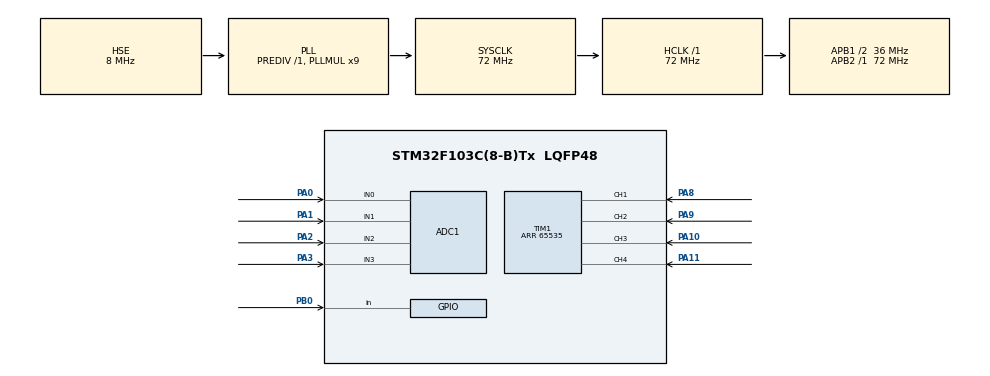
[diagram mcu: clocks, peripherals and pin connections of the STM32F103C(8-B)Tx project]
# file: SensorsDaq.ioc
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ADC1.Channel-0\#ChannelRegularConversion=ADC_CHANNEL_0
ADC1.Channel-1\#ChannelRegularConversion=ADC_CHANNEL_1
ADC1.Channel-2\#ChannelRegularConversion=ADC_CHANNEL_2
ADC1.Channel-3\#ChannelRegularConversion=ADC_CHANNEL_3
ADC1.ContinuousConvMode=DISABLE
ADC1.DataAlign=ADC_DATAALIGN_RIGHT
ADC1.DiscontinuousConvMode=DISABLE
ADC1.EnableAnalogWatchDog=false
ADC1.EnableRegularConversion=ENABLE
ADC1.ExternalTrigConv=ADC_EXTERNALTRIGCONV_T3_TRGO
ADC1.InjNumberOfConversion=0
ADC1.NbrOfConversion=4
ADC1.NbrOfConversionFlag=1
ADC1.Rank-0\#ChannelRegularConversion=1
ADC1.Rank-1\#ChannelRegularConversion=2
ADC1.Rank-2\#ChannelRegularConversion=3
ADC1.Rank-3\#ChannelRegularConversion=4
ADC1.SamplingTime-0\#ChannelRegularConversion=ADC_SAMPLETIME_1CYCLE_5
ADC1.SamplingTime-1\#ChannelRegularConversion=ADC_SAMPLETIME_1CYCLE_5
ADC1.SamplingTime-2\#ChannelRegularConversion=ADC_SAMPLETIME_1CYCLE_5
ADC1.SamplingTime-3\#ChannelRegularConversion=ADC_SAMPLETIME_1CYCLE_5
ADC1.ScanConvMode=ADC_SCAN_ENABLE
ADC1.master=1
Dma.ADC1.0.Direction=DMA_PERIPH_TO_MEMORY
Dma.ADC1.0.Instance=DMA1_Channel1
Dma.ADC1.0.MemDataAlignment=DMA_MDATAALIGN_HALFWORD
Dma.ADC1.0.MemInc=DMA_MINC_ENABLE
Dma.ADC1.0.Mode=DMA_CIRCULAR
Dma.ADC1.0.PeriphDataAlignment=DMA_PDATAALIGN_HALFWORD
Dma.ADC1.0.PeriphInc=DMA_PINC_DISABLE
Dma.ADC1.0.Priority=DMA_PRIORITY_MEDIUM
Dma.Request0=ADC1
Mcu.Family=STM32F1
Mcu.Name=STM32F103C(8-B)Tx
Mcu.Package=LQFP48
NVIC.DMA1_Channel1_IRQn=true\:0\:0\:false\:false\:true\:false
NVIC.PriorityGroup=NVIC_PRIORITYGROUP_4
NVIC.TIM1_BRK_IRQn=true\:0\:0\:false\:false\:true\:true
NVIC.TIM1_CC_IRQn=true\:0\:0\:false\:false\:true\:true
NVIC.TIM1_TRG_COM_IRQn=true\:0\:0\:false\:false\:true\:true
NVIC.TIM1_UP_IRQn=true\:0\:0\:false\:false\:true\:true
NVIC.TIM3_IRQn=true\:0\:0\:false\:false\:true\:true
PA0-WKUP.Signal=ADCx_IN0
PA1.Signal=ADCx_IN1
PA10.Signal=S_TIM1_CH3
PA11.Signal=S_TIM1_CH4
PA13.Mode=Serial_Wire
PA13.Signal=SYS_JTMS-SWDIO
PA14.Mode=Serial_Wire
PA14.Signal=SYS_JTCK-SWCLK
PA2.Signal=ADCx_IN2
PA3.Signal=ADCx_IN3
PA8.Signal=S_TIM1_CH1
PA9.Signal=S_TIM1_CH2
PB0.Signal=GPIO_Input
PD0-OSC_IN.Mode=HSE-External-Oscillator
PD0-OSC_IN.Signal=RCC_OSC_IN
PD1-OSC_OUT.Mode=HSE-External-Oscillator
PD1-OSC_OUT.Signal=RCC_OSC_OUT
ProjectManager.HeapSize=0x200
ProjectManager.StackSize=0x400
ProjectManager.TargetToolchain=TrueSTUDIO
RCC.ADCPresc=RCC_ADCPCLK2_DIV6
RCC.AHBFreq_Value=72000000
RCC.APB1CLKDivider=RCC_HCLK_DIV2
RCC.APB1Freq_Value=36000000
RCC.APB1TimFreq_Value=72000000
RCC.APB2Freq_Value=72000000
RCC.APB2TimFreq_Value=72000000
RCC.HCLKFreq_Value=72000000
RCC.PLLMUL=RCC_PLL_MUL9
RCC.PLLSourceVirtual=RCC_PLLSOURCE_HSE
RCC.SYSCLKFreq_VALUE=72000000
RCC.SYSCLKSource=RCC_SYSCLKSOURCE_PLLCLK
RCC.USBFreq_Value=72000000
SH.ADCx_IN0.0=ADC1_IN0,IN0
SH.ADCx_IN1.0=ADC1_IN1,IN1
SH.ADCx_IN2.0=ADC1_IN2,IN2
SH.ADCx_IN3.0=ADC1_IN3,IN3
SH.S_TIM1_CH1.0=TIM1_CH1,Input_Capture1_from_TI1
SH.S_TIM1_CH2.0=TIM1_CH2,Input_Capture2_from_TI2
SH.S_TIM1_CH3.0=TIM1_CH3,Input_Capture3_from_TI3
SH.S_TIM1_CH4.0=TIM1_CH4,Input_Capture4_from_TI4
TIM1.Channel-Input_Capture1_from_TI1=TIM_CHANNEL_1
TIM1.Channel-Input_Capture2_from_TI2=TIM_CHANNEL_2
TIM1.Channel-Input_Capture3_from_TI3=TIM_CHANNEL_3
TIM1.Channel-Input_Capture4_from_TI4=TIM_CHANNEL_4
TIM1.ICFilter_CH1=15
TIM1.ICFilter_CH2=15
TIM1.ICFilter_CH3=15
TIM1.ICFilter_CH4=15
TIM1.Period=65535
TIM3.Period=1000
TIM3.Prescaler=71
TIM3.TIM_MasterOutputTrigger=TIM_TRGO_UPDATE
VP_TIM1_VS_ClockSourceINT.Mode=Internal
VP_TIM3_VS_ClockSourceINT.Mode=Internal
board=custom

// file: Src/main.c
/**
  ******************************************************************************
  * @file           : main.c
  * @brief          : Main program body
  ******************************************************************************
  ** This notice applies to any and all portions of this file
  * that are not between comment pairs USER CODE BEGIN and
  * USER CODE END. Other portions of this file, whether
  * inserted by the user or by software development tools
  * are owned by their respective copyright owners.
  *
  * COPYRIGHT(c) 2018 STMicroelectronics
  *
  * Redistribution and use in source and binary forms, with or without modification,
  * are permitted provided that the following conditions are met:
  *   1. Redistributions of source code must retain the above copyright notice,
  *      this list of conditions and the following disclaimer.
  *   2. Redistributions in binary form must reproduce the above copyright notice,
  *      this list of conditions and the following disclaimer in the documentation
  *      and/or other materials provided with the distribution.
  *   3. Neither the name of STMicroelectronics nor the names of its contributors
  *      may be used to endorse or promote products derived from this software
  *      without specific prior written permission.
  *
  * THIS SOFTWARE IS PROVIDED BY THE COPYRIGHT HOLDERS AND CONTRIBUTORS "AS IS"
  * AND ANY EXPRESS OR IMPLIED WARRANTIES, INCLUDING, BUT NOT LIMITED TO, THE
  * IMPLIED WARRANTIES OF MERCHANTABILITY AND FITNESS FOR A PARTICULAR PURPOSE ARE
  * DISCLAIMED. IN NO EVENT SHALL THE COPYRIGHT HOLDER OR CONTRIBUTORS BE LIABLE
  * FOR ANY DIRECT, INDIRECT, INCIDENTAL, SPECIAL, EXEMPLARY, OR CONSEQUENTIAL
  * DAMAGES (INCLUDING, BUT NOT LIMITED TO, PROCUREMENT OF SUBSTITUTE GOODS OR
  * SERVICES; LOSS OF USE, DATA, OR PROFITS; OR BUSINESS INTERRUPTION) HOWEVER
  * CAUSED AND ON ANY THEORY OF LIABILITY, WHETHER IN CONTRACT, STRICT LIABILITY,
  * OR TORT (INCLUDING NEGLIGENCE OR OTHERWISE) ARISING IN ANY WAY OUT OF THE USE
  * OF THIS SOFTWARE, EVEN IF ADVISED OF THE POSSIBILITY OF SUCH DAMAGE.
  *
  ******************************************************************************
  */
#include "main.h"
#include "stm32f1xx_hal.h"
#include "adc.h"
#include "dma.h"
#include "tim.h"
#include "gpio.h"

#define __HAL_TIM_GetCompare            __HAL_TIM_GET_COMPARE
#define __HAL_TIM_GET_COMPARE(__HANDLE__, __CHANNEL__) \
  (*(__IO uint32_t *)(&((__HANDLE__)->Instance->CCR1) + ((__CHANNEL__) >> 2U)))

/* USER CODE BEGIN Includes */

/* ---------- Defines of Wheel Speed Sensor ---------*/
#define pi 3.1415
#define radiusOfWheel .1
#define clkFreq 16000000
#define maximumValueOfTimer 65536

/* ---------- Defines of Steering Sensor ---------*/

#define  max_no_of_bits 10 //resolution of sensor
#include <math.h>
/* USER CODE END Includes */

/* USER CODE BEGIN PV */
/* Private variables ---------------------------------------------------------*/

/* -----------Wheel Speed Sensor Variables------------- */

uint16_t frontRightFlag =0 ;			  // flags to make sure channel enterrupt has been happened
uint16_t frontLeftFlag =0 ;
uint16_t rearRightFlag =0 ;
uint16_t rearLeftFlag =0 ;

uint16_t frontRightInputCapture =0 ;  // variable to store counter of timer 1 value
uint16_t frontLeftInputCapture =0 ;	 // variable to store counter of timer 2 value
uint16_t rearRightInputCapture =0 ;	 // variable to store counter of timer 3 value
uint16_t rearLeftInputCapture =0 ;	 // variable to store counter of timer 4 value

float frontRightWheelSpeed =0 ;		// speed of front Right Wheel
float frontLeftWheelSpeed =0 ;  // speed of front left Wheel
float rearRightWheelSpeed =0 ;		// speed of rear Right Wheel
float rearLeftWheelSpeed =0 ;		// speed of rear left Wheel

uint16_t carAvarageSpeed =0 ;   		// avarage speed of the car

uint16_t updateCounter = 0 ;    // variable to know how many times the timer make an update between two pulses

/*------------ Steering Sensor Variables ------------- */

float g_angle=0;//stores position(angle) of shaft
uint32_t g_flag=0;//to know that we have our bits that represent el reading completed shifted
uint32_t g_complete_reading=0;//which will be sent to graytoDecimal function(contains complete gray code after shifting 10 bits)
uint32_t g_mul=1;//to construct gray_code from bits shifted to micro_controller

/*------------ Suspension Sensor Variables ------------- */
uint16_t adc_data[4];
float displacement[4];

/* USER CODE END PV */

void SystemClock_Config(void);

uint32_t graytoDecimal(uint32_t graycode,uint32_t size_);
void shift_bit(uint16_t reading_bit);

/* USER CODE BEGIN PFP */
/* Private function prototypes -----------------------------------------------*/

/* USER CODE END PFP */

/* USER CODE BEGIN 0 */

/* --------- functions of wheel speed sensor --------*/
void HAL_TIM_IC_CaptureCallback(TIM_HandleTypeDef *htim)
{
 if (htim->Instance==TIM1)
  {
		if((htim->Instance->CCMR1 & TIM_CCMR1_CC1S) != 0x00U){	 // check if channel 1 has been interrupted
			frontRightFlag =1 ;
		}
    if((htim->Instance->CCMR1 & TIM_CCMR1_CC2S) != 0x00U){		// check if channel 2 has been interrupted
			frontLeftFlag = 1 ;
		}
		if((htim->Instance->CCMR2 & TIM_CCMR2_CC3S) != 0x00U){	  // check if channel 3 has been interrupted
		rearRightFlag =1 ;
	}
    if((htim->Instance->CCMR2 & TIM_CCMR2_CC4S) != 0x00U){		// check if channel 4 has been interrupted
			rearLeftFlag =1 ;
		}

	}
}

void HAL_TIM_PeriodElapsedCallback(TIM_HandleTypeDef *htim) // check the update of timer
	{
		if (htim->Instance==TIM1){     // update of timer 1 for Wheel speed sensor
		updateCounter ++ ;
	}
		if (htim->Instance==TIM3)  {	 // update of timer 3 for suspension sensor

					displacement[0]=((float)adc_data[0]/4096)*50;
					displacement[1]=((float)adc_data[1]/4096)*50;
					displacement[2]=((float)adc_data[2]/4096)*50;
					displacement[3]=((float)adc_data[3]/4096)*50;
		        }
}

/* --------- functions of steering sensor --------*/

uint32_t graytoDecimal(uint32_t graycode,uint32_t size_)
{
{
	uint32_t gray[size_];
	uint32_t binary[size_];
for(uint32_t i=0;i<size_;i++)
{
	gray[size_-1-i]=graycode%10 ;
	graycode/=10;
	if(graycode==0) break;//no need to complete the loop

}

    // MSB of binary code is same as gray code
    binary[0] = gray[0];

    // Compute remaining bits
    for (uint32_t i = 1; i <size_; i++) {
        // If current bit is 0, concatenate
        // previous bit
        if (gray[i] == 0){
            binary[i]= binary[i - 1];
        }
        // Else, concatenate invert of
        // previous bit
        else
        {
            if(binary[i-1]==0)
            binary[i] = 1;
            else
            binary[i]=0;
        }

    }

    uint32_t mul=1;
    uint32_t our_Decimal=0;
    for(uint32_t i=size_-1;i>=0;i--)
    {
        our_Decimal+=mul*binary[i];//converting to decimal
        mul*=2;
    }
    return our_Decimal;
}
}
void shift_bit(uint16_t reading_bit)
{

    g_complete_reading+=reading_bit*g_mul;
    g_flag++;
    g_mul*=10;
    if(g_flag==max_no_of_bits)
    {
        //cout<<endl<<g_complete_reading; this is used for testing on codeBlocks
        g_angle=graytoDecimal(g_complete_reading,max_no_of_bits)/pow(2,max_no_of_bits);
        g_complete_reading=0;
        g_flag=0;
        g_mul=1;
        g_angle*=360;
        //cout<<endl<<g_angle;also for testing
    }
}

/* USER CODE END 0 */

int main(void)
{
  /* USER CODE BEGIN 1 */
	/* ------------ variables of wheel speed sensor ----------*/
	uint32_t frontRightDuration =0 ;		// duration of 1/4 of front Right Wheel
	uint32_t frontLeftDuration =0 ;			// duration of 1/4 of front left Wheel
	uint32_t rearRightDuration =0 ;			// duration of 1/4 of rear Right Wheel
	uint32_t rearleftDuration =0 ;			// duration of 1/4 of rear left Wheel

	uint8_t frontRightWheelCheck =0; 		// variable to check if the steps of calculation of the front right wheel duration have been done or not
	uint8_t frontLeftWheelCheck =0; 		// variable to check if the steps of calculation of the front left Wheel duration have been done or not
	uint8_t rearRightWheelCheck =0; 		// variable to check if the steps of calculation of the rear Right Wheel duration have been done or not
	uint8_t rearLeftWheelCheck =0; 			// variable to check if the steps of calculation of the rear left Wheel duration have been done or not

	/* ------------ variables of steering sensor ----------*/
	uint16_t  reading_bit=0;//for reading bit that comes from shift register

  /* USER CODE END 1 */

  /* MCU Configuration----------------------------------------------------------*/

  /* Reset of all peripherals, Initializes the Flash interface and the Systick. */
  HAL_Init();

  /* USER CODE BEGIN Init */
  HAL_TIM_IC_Start_IT(&htim1, TIM_CHANNEL_1);
  HAL_TIM_IC_Start_IT(&htim1, TIM_CHANNEL_2);
  HAL_TIM_IC_Start_IT(&htim1, TIM_CHANNEL_3);
  HAL_TIM_IC_Start_IT(&htim1, TIM_CHANNEL_4);

  /* USER CODE END Init */

  /* Configure the system clock */
  SystemClock_Config();

  /* Initialize all configured peripherals */
  MX_GPIO_Init();
  MX_DMA_Init();
  MX_ADC1_Init();
  MX_TIM3_Init();
  MX_TIM1_Init();
  /* USER CODE BEGIN 2 */
  /* ---------- init of suspension sensor -----------*/
  HAL_TIM_Base_Start_IT(&htim3);
  HAL_ADC_Start_DMA(&hadc1, (uint32_t*)adc_data,4);

  /* USER CODE END 2 */

  /* Infinite loop */
  while (1)
  {

  /* USER CODE BEGIN 3 */
	 /* ----------- code of wheel speed sensor-----------*/
	  if (updateCounter <100 )
	  	{
	  	if (frontRightFlag == 1){
	  		frontRightInputCapture= (((updateCounter * maximumValueOfTimer) + __HAL_TIM_GetCompare(&htim1, TIM_CHANNEL_1))- frontRightInputCapture);    //read TIM1 channel 1 capture value
	  		frontRightDuration = ( frontRightInputCapture / clkFreq ) ;    // duration in seconds
	  		frontRightWheelSpeed = ((((60 /(4*frontRightDuration)) *(2*pi/60)) * radiusOfWheel )* (18/5)) ; // 60 to convert to min,*4 to make it for one revolution ,2pi/60 to convert to rad/sec, *raduis to convert to m/sec, *(18/5) to convert to km/h
	  		frontRightFlag =0 ;
	  		frontRightWheelCheck =1 ;  // change 	front Right Wheel Check value to 1 to make sure the calculations have been done
	  	}
	  	if (frontLeftFlag == 1){
	  		frontLeftInputCapture= (((updateCounter * maximumValueOfTimer) + __HAL_TIM_GetCompare(&htim1, TIM_CHANNEL_2))- frontLeftInputCapture);    //read TIM1 channel 2 capture value
	  		frontLeftDuration = (frontLeftInputCapture / clkFreq) ;    // duration in seconds
	  		frontLeftWheelSpeed = ((((60 /(4*frontLeftDuration)) *(2*pi/60)) * radiusOfWheel )*(18/5)) ; // 60 to convert to min,*4 to make it for one revolution, 2pi/60 to convert to rad/sec, *raduis to convert to m/sec, *(18/5) to convert to km/h
	  		frontLeftFlag =0 ;
	  		frontLeftWheelCheck = 1 ;  // change 	front Left Wheel Check value to 1 to make sure the calculations have been done
	  	}
	  	if (rearRightFlag == 1){
	  		rearRightInputCapture= (((updateCounter * maximumValueOfTimer) + __HAL_TIM_GetCompare(&htim1, TIM_CHANNEL_3))- rearRightInputCapture);    //read TIM1 channel 3 capture value
	  		rearRightDuration = (rearRightInputCapture / clkFreq);    // duration in seconds
	  		rearRightWheelSpeed = ((((60 /(4*rearRightDuration)) *(2*pi/60)) * radiusOfWheel )*(18/5)) ;// 60 to convert to min,*4 to make it for one revolution, 2pi/60 to convert to rad/sec, *raduis to convert to m/sec ,*(18/5) to convert to km/h
	  		rearRightFlag =0 ;
	  		rearRightWheelCheck =1;  // change 	rear Right Wheel Check value to 1 to make sure the calculations have been done
	  	}
	  	if (rearLeftFlag== 1){
	  		rearLeftInputCapture= (((updateCounter * maximumValueOfTimer) +__HAL_TIM_GetCompare(&htim1, TIM_CHANNEL_4))- rearLeftInputCapture);    //read TIM1 channel 4 capture value
	  		rearleftDuration = (rearLeftInputCapture / clkFreq) ; 		  // duration in seconds
	  		rearLeftWheelSpeed = ((((60 /(4*rearleftDuration)) *(2*pi/60)) * radiusOfWheel )*(18/5)) ;// 60 to convert to min,*4 to make it for one revolution, 2pi/60 to convert to rad/sec, *raduis to convert to m/sec ,*(18/5) to convert to km/h
	  		rearLeftFlag = 0;
	  		rearLeftWheelCheck = 1 ;  // change rear Left Wheel Check value to 1 to make sure the calculations have been done
	  	}
	  	if ((frontRightWheelCheck & frontLeftWheelCheck & rearRightWheelCheck & rearLeftWheelCheck)== 1){
	  	carAvarageSpeed = ((frontRightWheelSpeed + frontLeftWheelSpeed + rearRightWheelSpeed + rearLeftWheelSpeed )/4) ; // avarage speed of the car
	    frontRightWheelCheck = 0 ;   // return the value of check to 0 to be aware of changing the value when the calculations happen
	  	frontLeftWheelCheck = 0 ;		 // return the value of check to 0 to be aware of changing the value when the calculations happen
	  	rearRightWheelCheck = 0 ;		 // return the value of check to 0 to be aware of changing the value when the calculations happen
	  	rearLeftWheelCheck = 0 ;		 // return the value of check to 0 to be aware of changing the value when the calculations happen
	  	}

	  	}

	 /* ----------- code of steering sensor-----------*/
	  reading_bit=HAL_GPIO_ReadPin(GPIOB,GPIO_PIN_0);
	  shift_bit(reading_bit);

  }
  /* USER CODE END 3 */

}

void SystemClock_Config(void)
{

  RCC_OscInitTypeDef RCC_OscInitStruct;
  RCC_ClkInitTypeDef RCC_ClkInitStruct;
  RCC_PeriphCLKInitTypeDef PeriphClkInit;

    /**Initializes the CPU, AHB and APB busses clocks
    */
  RCC_OscInitStruct.OscillatorType = RCC_OSCILLATORTYPE_HSE;
  RCC_OscInitStruct.HSEState = RCC_HSE_ON;
  RCC_OscInitStruct.HSEPredivValue = RCC_HSE_PREDIV_DIV1;
  RCC_OscInitStruct.HSIState = RCC_HSI_ON;
  RCC_OscInitStruct.PLL.PLLState = RCC_PLL_ON;
  RCC_OscInitStruct.PLL.PLLSource = RCC_PLLSOURCE_HSE;
  RCC_OscInitStruct.PLL.PLLMUL = RCC_PLL_MUL9;
  if (HAL_RCC_OscConfig(&RCC_OscInitStruct) != HAL_OK)
  {
    _Error_Handler(__FILE__, __LINE__);
  }

    /**Initializes the CPU, AHB and APB busses clocks
    */
  RCC_ClkInitStruct.ClockType = RCC_CLOCKTYPE_HCLK|RCC_CLOCKTYPE_SYSCLK
                              |RCC_CLOCKTYPE_PCLK1|RCC_CLOCKTYPE_PCLK2;
  RCC_ClkInitStruct.SYSCLKSource = RCC_SYSCLKSOURCE_PLLCLK;
  RCC_ClkInitStruct.AHBCLKDivider = RCC_SYSCLK_DIV1;
  RCC_ClkInitStruct.APB1CLKDivider = RCC_HCLK_DIV2;
  RCC_ClkInitStruct.APB2CLKDivider = RCC_HCLK_DIV1;

  if (HAL_RCC_ClockConfig(&RCC_ClkInitStruct, FLASH_LATENCY_2) != HAL_OK)
  {
    _Error_Handler(__FILE__, __LINE__);
  }

  PeriphClkInit.PeriphClockSelection = RCC_PERIPHCLK_ADC;
  PeriphClkInit.AdcClockSelection = RCC_ADCPCLK2_DIV6;
  if (HAL_RCCEx_PeriphCLKConfig(&PeriphClkInit) != HAL_OK)
  {
    _Error_Handler(__FILE__, __LINE__);
  }

    /**Configure the Systick interrupt time
    */
  HAL_SYSTICK_Config(HAL_RCC_GetHCLKFreq()/1000);

    /**Configure the Systick
    */
  HAL_SYSTICK_CLKSourceConfig(SYSTICK_CLKSOURCE_HCLK);

  /* SysTick_IRQn interrupt configuration */
  HAL_NVIC_SetPriority(SysTick_IRQn, 0, 0);
}

void _Error_Handler(char *file, int line)
{
  while(1)
  {
  }
}

/************************ (C) COPYRIGHT STMicroelectronics *****END OF FILE****/
